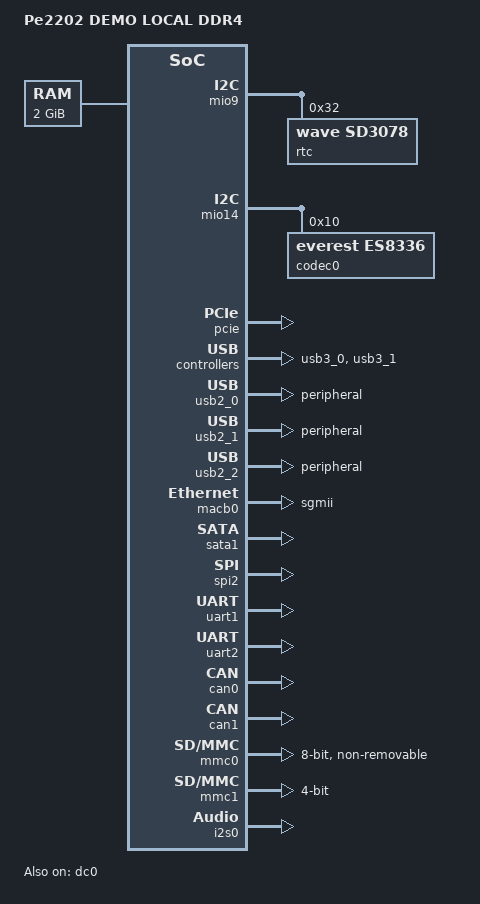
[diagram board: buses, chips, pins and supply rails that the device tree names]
// SPDX-License-Identifier: GPL-2.0
/*
 * DTS file for Phytium Pe2202 demo board
 *
 * Copyright (C) 2022-2023, Phytium Technology Co., Ltd.
 */

/dts-v1/;
/memreserve/ 0x80000000 0x10000;

#include "pe2202.dtsi"

/{
	model = "Pe2202 DEMO LOCAL DDR4";
	compatible = "phytium,pe2202";

	chosen {
		stdout-path = "serial1:115200n8";
	};

	memory@0 {
		device_type = "memory";
		reg = <0x0 0x80000000 0x0 0x80000000>;
	};

	sound_card: sound {
		compatible = "simple-audio-card";
		simple-audio-card,format = "i2s";
		simple-audio-card,name = "phytium,pe220x-i2s-audio";
		simple-audio-card,pin-switches = "mic-in";
		simple-audio-card,widgets = "Microphone", "mic-in";
		simple-audio-card,routing = "MIC2", "mic-in";
		simple-audio-card,cpu {
			sound-dai = <&i2s0>;
		};
		simple-audio-card,codec {
			sound-dai = <&codec0>;
		};
	};
};

&soc {
	mio9: i2c@28026000 {
		compatible = "phytium,i2c";
		reg = <0x0 0x28026000 0x0 0x1000>;
		interrupts = <GIC_SPI 101 IRQ_TYPE_LEVEL_HIGH>;
		clocks = <&sysclk_50mhz>;
		#address-cells = <1>;
		#size-cells = <0>;
		status = "okay";
		rtc@32 {
			compatible = "wave,sd3078";
			reg = <0x32>;
		};

	};

	mio14: i2c@28030000 {
		compatible = "phytium,i2c";
		reg = <0x0 0x28030000 0x0 0x1000>;
		interrupts = <GIC_SPI 106 IRQ_TYPE_LEVEL_HIGH>;
		clocks = <&sysclk_50mhz>;
		#address-cells = <1>;
		#size-cells = <0>;
		status = "okay";

		codec0: es8336@10 {
			#sound-dai-cells = <0>;
			compatible = "everest,es8336";
			reg = <0x10>;
		};
	};
};

&pcie {
	status = "okay";
};

&usb3_0 {
	status = "okay";
};

&usb3_1 {
	status = "okay";
};

&usb2_0 {
	dr_mode = "peripheral";
	status = "okay";
};

&usb2_1 {
	dr_mode = "peripheral";
	status = "okay";
};

&usb2_2 {
	dr_mode = "peripheral";
	status = "okay";
};

&macb0 {
	phy-mode = "sgmii";
	use-mii;
	status = "okay";
};

&sata1 {
	status = "okay";
};

&spi2 {
	status = "okay";
};

&uart1 {
	status = "okay";
};

&uart2 {
	status = "okay";
};

&can0 {
	status = "okay";
};

&can1 {
	status = "okay";
};

&mmc0 {
	bus-width = <0x00000008>;
	max-frequency = <50000000>;
	cap-mmc-hw-reset;
	cap-mmc-highspeed;
	no-sdio;
	no-sd;
	non-removable;
	status = "okay";
};

&mmc1 {
	bus-width = <0x00000004>;
	max-frequency = <50000000>;
	cap-sdio-irq;
	cap-sd-highspeed;
	sd-uhs-sdr25;
	no-mmc;
	status = "okay";
};

&i2s0 {
	#sound-dai-cells = <0>;
	status = "okay";
};

&dc0 {
	pipe_mask = /bits/ 8 <0x2>;
	edp_mask = /bits/ 8 <0x0>;
	status = "okay";
};
